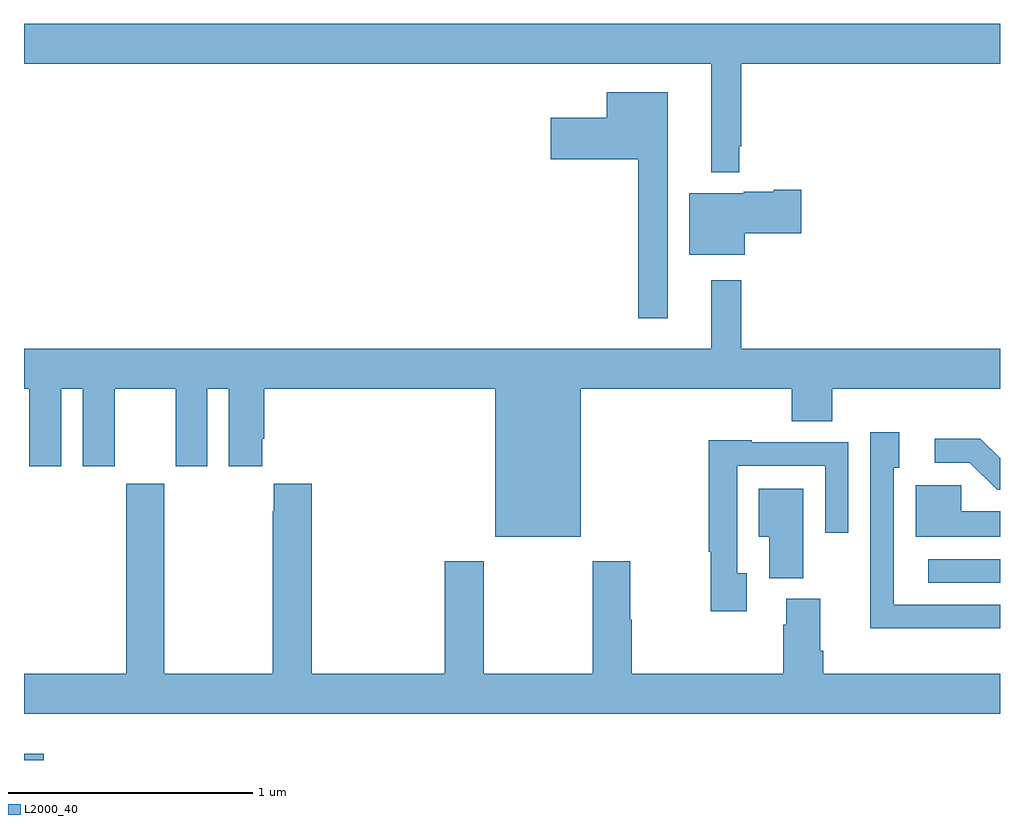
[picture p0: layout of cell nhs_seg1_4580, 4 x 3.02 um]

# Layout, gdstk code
import gdstk
lib = gdstk.Library(unit=1e-6, precision=1e-09)
def R(c, l, rs):  # rectangles x0, y0, x1, y1
    for r in rs: c.add(gdstk.rectangle(r[:2], r[2:], *l))
def P(c, l, *ps):  # polygons
    for p in ps: c.add(gdstk.Polygon(p, *l))
L2000_40 = (2000, 40)

nhs_seg1_4580 = lib.new_cell('nhs_seg1_4580')
R(nhs_seg1_4580, L2000_40, [(359,562.199,359.081,562.225), (362.706,562.926,363,563.022)])
P(nhs_seg1_4580, L2000_40, [(361.931,564.715),(361.939,564.715),(361.939,565.052),(363,565.052),(363,565.216),(359,565.216),(359,565.052),(361.817,565.052),(361.817,564.608),(361.931,564.608)],
  [(361.639,564.937),(361.388,564.937),(361.388,564.832),(361.158,564.832),(361.158,564.662),(361.518,564.662),(361.518,564.009),(361.639,564.009)],
  [(361.954,564.358),(362.185,564.358),(362.185,564.536),(362.072,564.536),(362.072,564.529),(361.95,564.529),(361.95,564.523),(361.727,564.523),(361.727,564.269),(361.954,564.269)],
  [(361.282,563.72),(362.147,563.72),(362.147,563.587),(362.312,563.587),(362.312,563.72),(363,563.72),(363,563.884),(361.939,563.884),(361.939,564.166),(361.817,564.166),(361.817,563.884),(359,563.884),(359,563.72),(359.021,563.72),(359.021,563.403),(359.152,563.403),(359.152,563.72),(359.24,563.72),(359.24,563.403),(359.371,563.403),(359.371,563.72),(359.621,563.72),(359.621,563.403),(359.752,563.403),(359.752,563.72),(359.84,563.72),(359.84,563.403),(359.977,563.403),(359.977,563.515),(359.984,563.515),(359.984,563.72),(360.932,563.72),(360.932,563.114),(361.282,563.114)],
  [(362.93,562.74),(363,562.74),(363,562.836),(362.565,562.836),(362.565,563.397),(362.587,563.397),(362.587,563.542),(362.469,563.542),(362.469,563.042),(362.468,563.042),(362.468,562.739),(362.93,562.739)],
  [(363,563.436),(362.92,563.516),(362.733,563.516),(362.733,563.418),(362.877,563.418),(362.988,563.307),(363,563.307)],
  [(361.963,562.965),(361.923,562.965),(361.923,563.406),(362.283,563.406),(362.283,563.13),(362.379,563.13),(362.379,563.502),(361.983,563.502),(361.983,563.509),(361.807,563.509),(361.807,563.053),(361.815,563.053),(361.815,562.809),(361.963,562.809)],
  [(363,562.552),(362.276,562.552),(362.276,562.648),(362.263,562.648),(362.263,562.86),(362.123,562.86),(362.123,562.754),(362.111,562.754),(362.111,562.552),(361.49,562.552),(361.49,562.775),(361.485,562.775),(361.485,563.014),(361.33,563.014),(361.33,562.552),(360.885,562.552),(360.885,563.014),(360.725,563.014),(360.725,562.552),(360.179,562.552),(360.179,563.332),(360.023,563.332),(360.023,563.219),(360.019,563.219),(360.019,562.552),(359.574,562.552),(359.574,563.332),(359.419,563.332),(359.419,562.552),(359,562.552),(359,562.388),(363,562.388)],
  [(363,563.218),(362.841,563.218),(362.841,563.325),(362.654,563.325),(362.654,563.114),(363,563.114)],
  [(362.194,563.311),(362.012,563.311),(362.012,563.114),(362.054,563.114),(362.054,562.945),(362.194,562.945)])

lib.write_gds('nhs_seg1_4580.gds')
